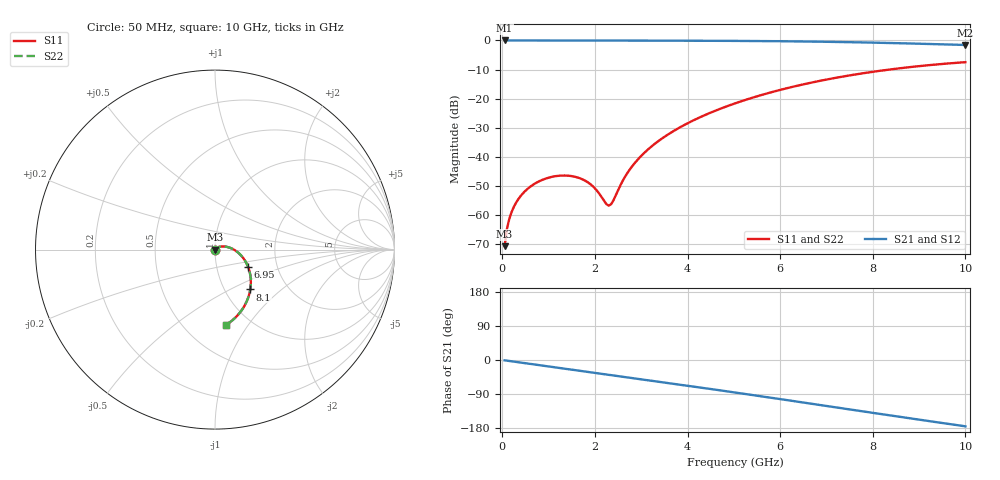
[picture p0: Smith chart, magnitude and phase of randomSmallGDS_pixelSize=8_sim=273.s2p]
! freq	dB(S11)	phase(S11)	dB(S12)	phase(S12)
!  dB(S21)	phase(S21)	dB(S22)	phase(S22)
!S-par simulation data
#  GHz  S  DB  R 50
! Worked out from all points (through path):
!   200 points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, 50 MHz to 10 GHz, reference 50 ohm
!   highest |S21| = 0.00 dB at 50 MHz (marker M1); lowest = -1.6 dB at 10 GHz (marker M2)
!   group delay of S21, straight-line fit = 48.8 ps
!   lowest |S11| = -70.8 dB at 50 MHz (marker M3), VSWR 1.00, Z = 50 - j0.0289 ohm
!   |S11| at or under -10 dB: start of sweep to 8.365 GHz
!   |S22| runs from -70.8 to -7.5 dB; largest |S21 - S12| = 0
!   S11 on the Smith chart (normalised r, x): 50 MHz: 1.00, -0.00; 6.95 GHz: 1.42, -0.29; 8.1 GHz: 1.31, -0.64; 10 GHz: 0.78, -0.80
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0.05  -70.78 -86.9  -0.00 -0.8  -0.00 -0.8  -70.78 -86.9
0.1  -64.87 -91.0  -0.00 -1.7  -0.00 -1.7  -64.87 -91.0
0.2  -59.06 -94.9  -0.00 -3.4  -0.00 -3.4  -59.06 -94.9
0.35  -54.51 -98.5  -0.00 -5.9  -0.00 -5.9  -54.51 -98.5
0.55  -51.00 -102.5  -0.01 -9.3  -0.01 -9.3  -51.00 -102.5
0.8  -48.42 -107.7  -0.01 -13.5  -0.01 -13.5  -48.42 -107.7
1.15  -46.69 -115.5  -0.02 -19.4  -0.02 -19.4  -46.69 -115.5
1.45  -46.57 -123.2  -0.03 -24.4  -0.03 -24.4  -46.57 -123.2
1.75  -47.93 -133.2  -0.03 -29.4  -0.03 -29.4  -47.93 -133.2
2  -50.89 -147.8  -0.03 -33.7  -0.03 -33.7  -50.89 -147.8
2.3  -56.83 146.6  -0.04 -38.7  -0.04 -38.7  -56.83 146.6
2.4  -55.00 108.0  -0.04 -40.4  -0.04 -40.4  -55.00 108.0
2.6  -48.31 72.2  -0.05 -43.8  -0.05 -43.8  -48.31 72.2
2.8  -43.38 58.8  -0.05 -47.2  -0.05 -47.2  -43.38 58.8
3.4  -34.28 39.8  -0.07 -57.4  -0.07 -57.4  -34.28 39.8
4.1  -27.70 24.9  -0.09 -69.5  -0.09 -69.5  -27.70 24.9
5.05  -21.51 7.0  -0.15 -86.2  -0.15 -86.2  -21.51 7.0
6.7  -14.42 -23.2  -0.39 -115.8  -0.39 -115.8  -14.42 -23.2
6.95  -13.61 -27.8  -0.45 -120.4  -0.45 -120.4  -13.61 -27.8
8.1  -10.56 -48.5  -0.78 -141.2  -0.78 -141.2  -10.56 -48.5
8.35  -10.03 -52.9  -0.87 -145.8  -0.87 -145.8  -10.03 -52.9
10  -7.47 -81.4  -1.55 -175.0  -1.55 -175.0  -7.47 -81.4
